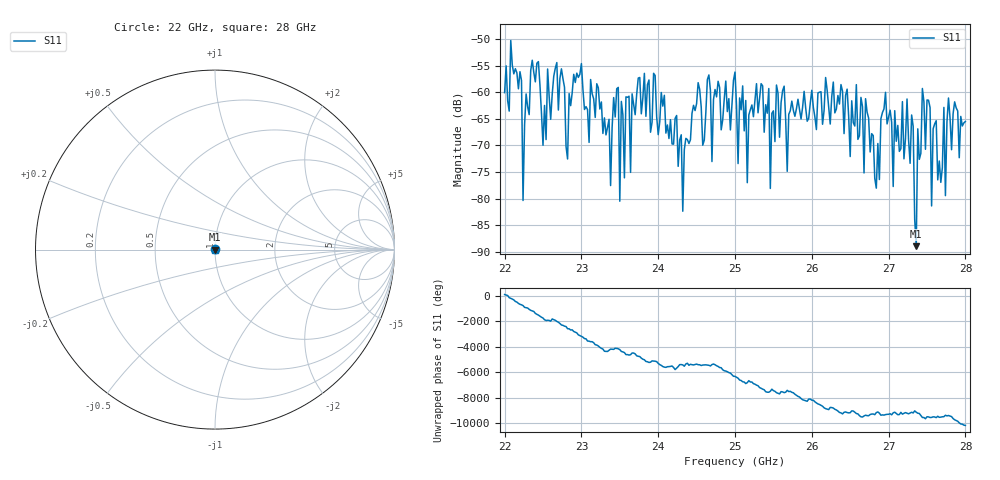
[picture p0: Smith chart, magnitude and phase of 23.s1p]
#  HZ  S  RI  R  50.00
! Rohde & Schwarz ZVA40 4Ports - Version 3.90 - 1145.1110k42 SN: 100403
! Date: 2023-10-04 08:10:02
! Measurement: S12
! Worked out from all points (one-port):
!   301 points, 22 GHz to 28 GHz, reference 50 ohm
!   lowest |S11| = -89.0 dB at 27.36 GHz (marker M1), VSWR 1.00, Z = 50 - j0.00221 ohm
!   |S11| at or under -10 dB: start of sweep to end of sweep
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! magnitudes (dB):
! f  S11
! 22 GHz  -60.1
! 22.2 GHz  -56.1
! 22.24 GHz  -80.4
! 22.36 GHz  -54.0
! 22.5 GHz  -70.0
! 22.76 GHz  -57.5
! 23.2 GHz  -58.4
! 23.38 GHz  -77.5
! 23.48 GHz  -59.1
! 23.5 GHz  -80.5
! 23.52 GHz  -61.7
! 23.64 GHz  -75.1
! 23.82 GHz  -56.4
! 24.26 GHz  -73.9
! 25 GHz  -56.2
! 25.16 GHz  -77.0
! 25.28 GHz  -58.4
! 25.44 GHz  -59.3
! 25.46 GHz  -78.1
! 25.54 GHz  -58.6
! 25.76 GHz  -63.4
! 26.5 GHz  -72.1
! 27.26 GHz  -68.9
! 27.36 GHz  -89.0
! 27.44 GHz  -59.3
! 27.54 GHz  -62.9
! 27.56 GHz  -81.4
! 28 GHz  -65.5
